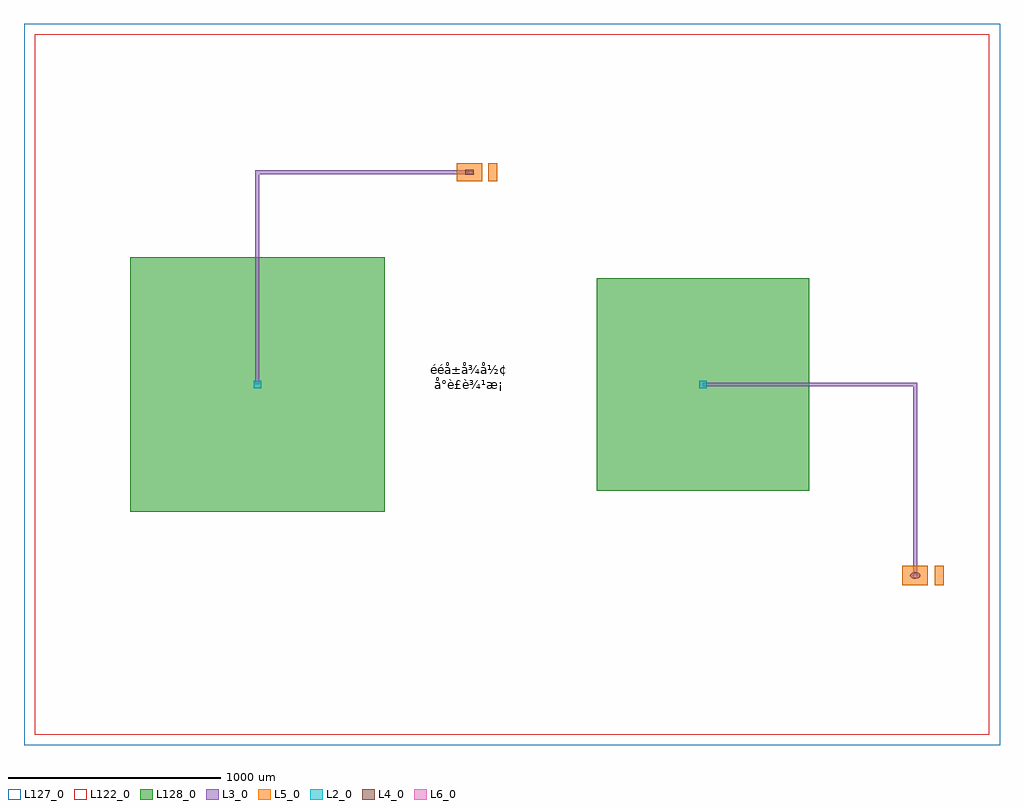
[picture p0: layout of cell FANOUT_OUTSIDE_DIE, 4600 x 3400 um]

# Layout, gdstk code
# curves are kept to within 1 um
import gdstk
lib = gdstk.Library(unit=1e-6, precision=1e-09)
def R(c, l, rs):  # rectangles x0, y0, x1, y1
    for r in rs: c.add(gdstk.rectangle(r[:2], r[2:], *l))
def P(c, l, *ps):  # polygons
    for p in ps: c.add(gdstk.Polygon(p, *l))
L2_0 = (2, 0)
L3_0 = (3, 0)
L4_0 = (4, 0)
L5_0 = (5, 0)
L6_0 = (6, 0)
L122_0 = (122, 0)
L127_0 = (127, 0)
L128_0 = (128, 0)

fanout_outside_die = lib.new_cell('FANOUT_OUTSIDE_DIE')
R(fanout_outside_die, L2_0, [(-1018,-18,-982,18), (1082,-18,1118,18)])
R(fanout_outside_die, L4_0, [(-20,988,20,1012)])
P(fanout_outside_die, L4_0, [(2124,-900),(2122.47,-894.729),(2118.074,-890.131),(2111.373,-886.791),(2098.923,-885.015),(2090.567,-886.207),(2083.414,-889.158),(2078.377,-893.492),(2076.097,-898.655),(2076.865,-903.991),(2083.414,-910.842),(2090.567,-913.793),(2098.923,-914.985),(2111.373,-913.209),(2118.074,-909.869),(2122.47,-905.271)])
R(fanout_outside_die, L5_0, [(2040,-945,2160,-855), (2192,-945,2235,-855), (-60,958,60,1042), (88,958,130,1042)])
R(fanout_outside_die, L6_0, [(2090,-910,2110,-890), (-12,994,12,1006)])
R(fanout_outside_die, L122_0, [(-2050,-1650,2450,1650)])
R(fanout_outside_die, L127_0, [(-2100,-1700,2500,1700)])
R(fanout_outside_die, L128_0, [(-1600,-600,-400,600), (600,-500,1600,500)])
fanout_outside_die.add(gdstk.FlexPath([(-1000,0),(-1000,1000),(0,1000)], 18, ends="flush", simple_path=True, layer=3, datatype=0))  # L3_0
fanout_outside_die.add(gdstk.FlexPath([(1100,0),(2100,0),(2100,-900)], 18, ends="flush", simple_path=True, layer=3, datatype=0))  # L3_0
fanout_outside_die.add(gdstk.Label('å°\x81è£\x85è¾¹æ¡\x86', (0,0), layer=127, texttype=0))
fanout_outside_die.add(gdstk.Label('è\x8a¯ç\x89\x87è¾¹æ¡\x86', (0,10), layer=128, texttype=0))
fanout_outside_die.add(gdstk.Label('è¿\x90å\x8a¨è¿\x87å\xad\x94', (0,20), layer=2, texttype=0))
fanout_outside_die.add(gdstk.Label('è¿\x90å\x8a¨RDL', (0,30), layer=3, texttype=0))
fanout_outside_die.add(gdstk.Label('è¿\x90å\x8a¨è¿\x87å\xad\x94', (0,40), layer=4, texttype=0))
fanout_outside_die.add(gdstk.Label('å\x9bºå®\x9aRDL', (0,50), layer=5, texttype=0))
fanout_outside_die.add(gdstk.Label('å\x9bºå®\x9aè¿\x87å\xad\x94', (0,60), layer=6, texttype=0))
fanout_outside_die.add(gdstk.Label('é\x9d\x9eé\x87\x91å±\x9eå\x9b¾å½¢', (0,70), layer=122, texttype=0))

lib.write_gds('FANOUT_OUTSIDE_DIE.gds')
